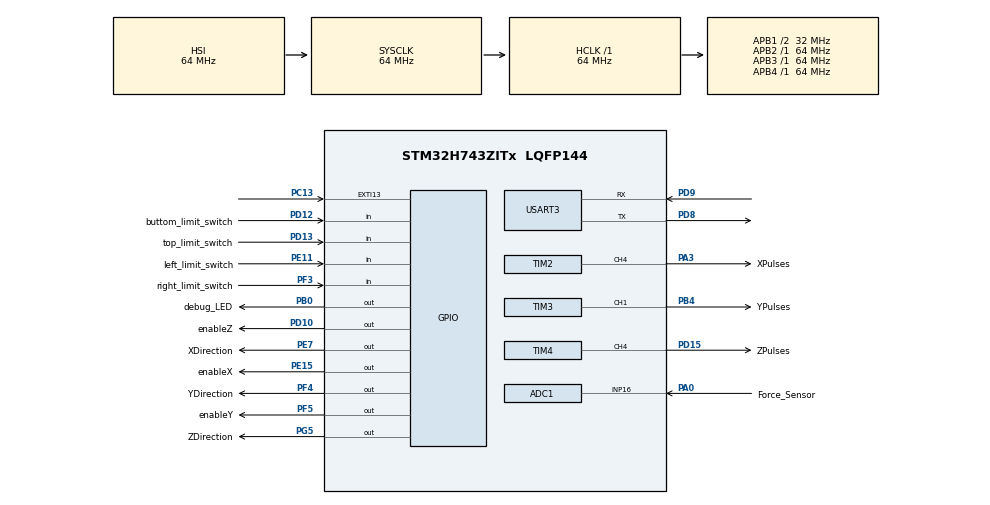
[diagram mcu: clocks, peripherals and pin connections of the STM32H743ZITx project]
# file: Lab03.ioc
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ADC1.Channel-1\#ChannelRegularConversion=ADC_CHANNEL_16
ADC1.NbrOfConversionFlag=1
ADC1.OffsetNumber-1\#ChannelRegularConversion=ADC_OFFSET_NONE
ADC1.OffsetSignedSaturation-1\#ChannelRegularConversion=DISABLE
ADC1.Rank-1\#ChannelRegularConversion=1
ADC1.SamplingTime-1\#ChannelRegularConversion=ADC_SAMPLETIME_1CYCLE_5
ADC1.master=1
Mcu.Family=STM32H7
Mcu.Name=STM32H743ZITx
Mcu.Package=LQFP144
NVIC.ADC_IRQn=true\:0\:0\:false\:false\:true\:true\:true\:true
NVIC.EXTI15_10_IRQn=true\:0\:0\:false\:false\:true\:true\:true\:true
NVIC.PriorityGroup=NVIC_PRIORITYGROUP_4
NVIC.TIM2_IRQn=true\:0\:0\:false\:false\:true\:true\:true\:true
NVIC.TIM3_IRQn=true\:0\:0\:false\:false\:true\:true\:true\:true
NVIC.TIM4_IRQn=true\:0\:0\:false\:false\:true\:true\:true\:true
NVIC.USART3_IRQn=true\:0\:0\:false\:false\:true\:true\:true\:true
PA0.GPIO_Label=Force_Sensor
PA0.Mode=IN16-Single-Ended
PA0.Signal=ADC1_INP16
PA3.GPIO_Label=XPulses
PA3.Signal=S_TIM2_CH4
PB0.GPIO_Label=debug_LED
PB0.Signal=GPIO_Output
PB4\ (NJTRST).GPIO_Label=YPulses
PB4\ (NJTRST).Signal=S_TIM3_CH1
PC13.Signal=GPXTI13
PD10.GPIO_Label=enableZ
PD10.Signal=GPIO_Output
PD12.GPIO_Label=buttom_limit_switch
PD12.GPIO_PuPd=GPIO_PULLDOWN
PD12.Signal=GPIO_Input
PD13.GPIO_Label=top_limit_switch
PD13.GPIO_PuPd=GPIO_PULLDOWN
PD13.Signal=GPIO_Input
PD15.GPIO_Label=ZPulses
PD15.Signal=S_TIM4_CH4
PD8.Mode=Asynchronous
PD8.Signal=USART3_TX
PD9.Mode=Asynchronous
PD9.Signal=USART3_RX
PE11.GPIO_Label=left_limit_switch
PE11.GPIO_PuPd=GPIO_PULLDOWN
PE11.Signal=GPIO_Input
PE15.GPIO_Label=enableX
PE15.Signal=GPIO_Output
PE7.GPIO_Label=XDirection
PE7.Signal=GPIO_Output
PF3.GPIO_Label=right_limit_switch
PF3.GPIO_PuPd=GPIO_PULLDOWN
PF3.Signal=GPIO_Input
PF4.GPIO_Label=YDirection
PF4.Signal=GPIO_Output
PF5.GPIO_Label=enableY
PF5.Signal=GPIO_Output
PG5.GPIO_Label=ZDirection
PG5.Signal=GPIO_Output
ProjectManager.HeapSize=0x200
ProjectManager.StackSize=0x400
ProjectManager.TargetToolchain=STM32CubeIDE
RCC.ADCFreq_Value=75000000
RCC.APB1Freq_Value=32000000
RCC.APB2Freq_Value=64000000
RCC.APB3Freq_Value=64000000
RCC.APB4Freq_Value=64000000
RCC.CortexFreq_Value=64000000
RCC.D2PPRE1=RCC_APB1_DIV2
RCC.DIVM2=4
RCC.DIVN2=9
RCC.HCLKFreq_Value=64000000
RCC.PLL2FRACN=3072
RCC.SYSCLKFreq_VALUE=64000000
RCC.USBFreq_Value=129000000
SH.S_TIM2_CH4.0=TIM2_CH4,PWM Generation4 CH4
SH.S_TIM3_CH1.0=TIM3_CH1,PWM Generation1 CH1
SH.S_TIM4_CH4.0=TIM4_CH4,PWM Generation4 CH4
TIM2.Channel-PWM\ Generation4\ CH4=TIM_CHANNEL_4
TIM2.Period=6400 - 1
TIM3.Channel-PWM\ Generation1\ CH1=TIM_CHANNEL_1
TIM3.Period=3200 - 1
TIM4.Channel-PWM\ Generation4\ CH4=TIM_CHANNEL_4
TIM4.Period=6400 - 1
USART3.VirtualMode-Asynchronous=VM_ASYNC
VP_TIM2_VS_ClockSourceINT.Mode=Internal
VP_TIM3_VS_ClockSourceINT.Mode=Internal
VP_TIM4_VS_ClockSourceINT.Mode=Internal
board=custom

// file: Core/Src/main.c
/* USER CODE BEGIN Header */
/**
  ******************************************************************************
  * @file           : main.c
  * @brief          : Main program body
  ******************************************************************************
  * @attention
  *
  * Copyright (c) 2024 STMicroelectronics.
  * All rights reserved.
  *
  * This software is licensed under terms that can be found in the LICENSE file
  * in the root directory of this software component.
  * If no LICENSE file comes with this software, it is provided AS-IS.
  *
  ******************************************************************************
  */
/* USER CODE END Header */
#include "main.h"
#include "adc.h"
#include "tim.h"
#include "usart.h"
#include "gpio.h"

/* USER CODE BEGIN Includes */
#include "stepper_motor.h"
#include <math.h>
#include <stdio.h>
#include <stdlib.h>
#include <stdarg.h>
/* USER CODE END Includes */

/* USER CODE BEGIN PD */
// #define DEBOUNCE_DELAY 50  // milliseconds
/* USER CODE END PD */

void SystemClock_Config(void);

/* USER CODE BEGIN 0 */
// Used for calibrate X-axis
uint32_t total_pulsesX = 0;   // Record the total pulses needed in half loop
uint32_t pulseCountX = 0;	// Record the count of current pulses
uint8_t loop_numX = 0; 	// Record the current loop

// Used for calibrate Y-axis
uint32_t total_pulsesY = 0;   // Record the total pulses needed in half loop
uint32_t pulseCountY = 0;	// Record the count of current pulses
uint8_t loop_numY = 0;
volatile uint8_t isPressed = 0;

// Used for accelaration
// #define MAX_PULSES 200
//uint32_t maxPulses = 800;
//uint32_t startTime; // To keep track of when acceleration started
//uint32_t lastTime;
//uint32_t freqArray[100000];
//uint32_t decelerateCount = 0;
//uint32_t constantT = 75;
//uint32_t R0 = 64e6 / 60000;
//uint32_t Rs = 64e6 / 12000;
//uint32_t curR = 64e6 / 60000;
//
//volatile uint8_t isPressed = 0; 	// Check if we pressed user button
//volatile uint8_t isAccelerating = 1; 	// Check if we need to accelerate
//volatile uint8_t isDecelerating = 0; 	// Check if we need to decelerate

// Playing Variable
// volatile uint8_t isPlaying = 0;
//uint32_t curNoteIndex = 0;
//// Frequency array for "Twinkle, Twinkle, Little Star"
//uint32_t noteFrequencies[] = {
//    // 1 1 5 5 6 6 5
//	523 * 7, 523 * 7, 440 * 7, 523 * 7, 392 * 7, 440 * 7, 392 * 7
//    // 4 4 3 3 2 2 1
//};
//size_t noteSize = sizeof(noteFrequencies) / sizeof(noteFrequencies[0]);

//void accelerationProcess(uint32_t maxFreq, uint32_t* pulseCount, volatile uint32_t* ARR, volatile uint32_t* CCR, int Timer){
//	 if(isPressed  == 1){
//		if((*pulseCount) < maxPulses){
//			// Get current time and elapsetime during a pulse
//			 uint32_t currentTime = HAL_GetTick();
//			 uint32_t elapseTime = currentTime - lastTime;
//			 // curR represent latest frequency
//			 // I need to initialize the array here so that it could store all the required value,
//			 // If I put this array after I update curR, I won't come back to the initial period.
//			 freqArray[(*pulseCount)] = curR;	// Using a array to store the latest frequency
//
////           DEBUG VARIABLE
////			 curPeriod = 64e6 / curR ;
////			 curElapseTime = elapseTime;
//			 // POSSIBLE BUG: Since curR is a integer, the initial value could become 1066, which could
//			 // lead 64e6 / 1066 become 60037, a bit of different with 60000, and finally the period will
//			 // recover to this value.
//
//			 curR = curR + ((Rs - R0) * elapseTime) / constantT;	// Update formula
//			 if(curR > maxFreq){
//				 curR = maxFreq;
//			 }
//			 uint32_t newPeriod = 64e6 / curR ;	// Update the new period and duty cycle
//
//			 *ARR = newPeriod;
//			 *CCR = newPeriod / 2;
//			 (*pulseCount)++;
////			 DEBUG VARIABLE
////			 ii++;
//		} else if((*pulseCount) >= maxPulses && (*pulseCount) < (uint32_t) (maxPulses * 1.5)){
//			// If I run into constant speed mode, just increase pulseCount and do
//			// not change the speed now
//			(*pulseCount)++;
//			// If I found that it already reach the time limit, change the state to
//			// deceleration state
//			if((*pulseCount) == (uint32_t) (maxPulses * 1.5)){
//				isDecelerating = 1;
//			}
////			 DEBUG VARIABLE
////			jj++;
//		} else if(isDecelerating && decelerateCount <= maxPulses){
//			// I set the deceleration period to MAX_PULSES pulses, then I'll retrieve
//			// the value I stored at freqArray to make it come back to the original state
//			if(decelerateCount < maxPulses){
//				// Using a deceleration count, to track if we reach the deceleration limit
//				uint32_t newPeriod = 64e6 / freqArray[maxPulses - decelerateCount - 1];
//			    *ARR = newPeriod;
//			    *CCR = newPeriod / 2;
//			    decelerateCount++;
//			    (*pulseCount)++;
//
////			 	DEBUG VARIABLE
////				curPeriod = newPeriod;
//// 				kk++;
//			} else {
//				// Deceleration is done, re-initialize the relevant variable
//				isDecelerating = 0;
//				*pulseCount = 0;
//				decelerateCount = 0;
//				curR = R0;
//				// TODO: MODIFY IT
//				// Change the current direction
//				// if(Timer == 2){
//					GPIO_PinState curDirection = HAL_GPIO_ReadPin(GPIOE, GPIO_PIN_7);
//					GPIO_PinState newDirection = (curDirection == GPIO_PIN_SET) ? GPIO_PIN_RESET : GPIO_PIN_SET;
//					HAL_GPIO_WritePin(GPIOE, GPIO_PIN_7, newDirection);
//				// }
//				// Code may not used when playing music
////				isPressed = 0;
//				// Code need to be used when playing music
//				curNoteIndex++;
////				HAL_TIM_PWM_Stop_IT(&htim2,TIM_CHANNEL_4);
//// 				HAL_Delay(20);
////				HAL_TIM_PWM_Start_IT(&htim2,TIM_CHANNEL_4);
////			 	DEBUG VARIABLE
////			   kk++;
//			}
//		}
//	 }
//}
//
//void playTheSong(uint32_t curFreq, uint32_t* pulseCount, volatile uint32_t* ARR, volatile uint32_t* CCR, int Timer){
//	uint32_t prevPulse = curFreq;
//	accelerationProcess(curFreq, pulseCount, ARR, CCR, Timer);
//	if(prevPulse != curFreq){
//		//if(Timer == 2){
//			HAL_TIM_PWM_Stop_IT(&htim2,TIM_CHANNEL_4);
//			HAL_Delay(100);
//			HAL_TIM_PWM_Start_IT(&htim2,TIM_CHANNEL_4);
//		// }
//	}
//}

void HAL_GPIO_EXTI_Callback(uint16_t GPIO_Pin){
    if(GPIO_Pin == GPIO_PIN_13){
//        // Simple software debouncing: check if the button is still pressed after a delay
//      HAL_Delay(50); // 50 ms for debouncing delay
    	isPressed = 1;
//		curNoteIndex = 0;
//      HAL_TIM_PWM_Start_IT(&htim2,TIM_CHANNEL_4);
    }
}
//----------------
//Support code (copy&paste):
void mywrite (unsigned char *st, int nby)
{
	if (nby) HAL_UART_Transmit(&huart3,st,nby,10);
}

void myprintf (const char *fmt, ...)
{
	va_list arglist;
	int nby;
	unsigned char st[256];
	if (!fmt) return;
	va_start(arglist,fmt);
	nby = vsnprintf((char *)st,sizeof(st),fmt,arglist);
	va_end(arglist);
	if (nby < 0) { nby = sizeof(st)-1; } //print truncated string in case too long
	if (nby) HAL_UART_Transmit(&huart3,st,nby,10);
}

void setToCenterX(){
	// Set X-axis to center
	if(loop_numX == 1){
	  pulseCountX++;
	} else if(loop_numX == 2){
		total_pulsesX--;
		if(total_pulsesX == 0){
			HAL_TIM_PWM_Stop(&htim2, TIM_CHANNEL_4); // Stop PWM
			HAL_GPIO_WritePin(GPIOE, GPIO_PIN_15, GPIO_PIN_SET);
			// HAL_Delay(5000);
		}
	}
}

void setToCenterY(){
	// Set Y-axis to center
	if(loop_numY == 1){
	  pulseCountY++;
	} else if(loop_numY == 2){
		total_pulsesY--;
		if(total_pulsesY == 0){
			HAL_TIM_PWM_Stop(&htim3, TIM_CHANNEL_1); // Stop PWM
			HAL_GPIO_WritePin(GPIOF, GPIO_PIN_5, GPIO_PIN_SET);
			// HAL_Delay(5000);
		}
	}
}

void HAL_TIM_PWM_PulseFinishedCallback (TIM_HandleTypeDef *htim){
	 if (htim == &htim2)
	 {
		 // The following function is used for calibrate
		 // setToCenterX();

		 // PLAYING MUSIC CODE
		 // HAL_TIM_PWM_Start_IT(&htim2,TIM_CHANNEL_4);
		 // If I press the user button here, it begins running
//		 playTheSong(noteFrequencies[curNoteIndex], &pulseCountX, &(TIM2->ARR), &(TIM2->CCR4), 2); // Play the current note
//		 // curNoteIndex++;	// Increase the note index
//
//		 // If it already reach the limit, reset all the values.
//		 if(curNoteIndex == noteSize){
//			curNoteIndex = 0;
//			isPressed = 0;
//			HAL_TIM_PWM_Stop_IT(&htim2,TIM_CHANNEL_4);
//		 }
//
//		 lastTime = HAL_GetTick();

		 // DRAW THE CIRCLE CODE
//		 if(motorState.move_axis == X_AXIS){
//			 HAL_TIM_PWM_Stop(&htim2, TIM_CHANNEL_4);
//		 } else if(motorState.move_axis == Y_AXIS){
//			 HAL_TIM_PWM_Stop(&htim3, TIM_CHANNEL_1);
//		 }
		 new_position();
	 }
	 if(htim == &htim3)
	 {
		 // setToCenterY();
	     new_position();
	 }
//	 if(htim == &htim4){
//
//	 }
}

/* USER CODE END 0 */

int main(void)
{

  /* MCU Configuration--------------------------------------------------------*/

  /* Reset of all peripherals, Initializes the Flash interface and the Systick. */
  HAL_Init();

  /* Configure the system clock */
  SystemClock_Config();

  /* Initialize all configured peripherals */
  MX_GPIO_Init();
  MX_TIM2_Init();
  MX_USART3_UART_Init();
  MX_ADC1_Init();
  MX_TIM3_Init();
  MX_TIM4_Init();
  /* USER CODE BEGIN 2 */
  // Set up the initial direction for X-axis
  HAL_GPIO_WritePin(GPIOE, GPIO_PIN_7, GPIO_PIN_SET);
  // Set up the initial direction for Y-axis
  HAL_GPIO_WritePin(GPIOF, GPIO_PIN_4, GPIO_PIN_SET);
  // Set up the initial direction for Z-axis
  HAL_GPIO_WritePin(GPIOG, GPIO_PIN_5, GPIO_PIN_RESET);

   // Maximum: 12000, minimum: 60000
   //  Set up the period in X-axis
//   uint16_t periodX = 20000;
//   TIM2->ARR = periodX; // first periodX
//   TIM2->CCR4 = periodX / 2; // first duty cycle (50%)
//   HAL_GPIO_WritePin(GPIOE, GPIO_PIN_15, GPIO_PIN_RESET); // Set up the enableX
//   HAL_TIM_PWM_Start_IT(&htim2,TIM_CHANNEL_4);
//   // Set up the period for Y-axis
//   uint16_t periodY = 20000;
//   TIM3->ARR = periodY; // first periodY
//   TIM3->CCR1 = periodY / 2; // first duty cycle (50%)
//   HAL_GPIO_WritePin(GPIOF, GPIO_PIN_5, GPIO_PIN_RESET); // Set up the enableY
//   HAL_TIM_PWM_Start_IT(&htim3,TIM_CHANNEL_1);
//    Set up the period for Z-axis
//   uint16_t periodZ = 60000;
//   TIM4->ARR = periodZ; // first periodY
//   TIM4->CCR4 = periodZ / 2; // first duty cycle (50%)
//   HAL_GPIO_WritePin(GPIOD, GPIO_PIN_10, GPIO_PIN_RESET); // Set up the enableZ
//   HAL_TIM_PWM_Start_IT(&htim4,TIM_CHANNEL_4);

  while(!isPressed){
	  isPressed = HAL_GPIO_ReadPin(GPIOC, GPIO_PIN_13);
	  HAL_Delay (20);
	  if(isPressed){
		  isPressed = 0;
		  break;
	  }
  }
  /* USER CODE END 2 */

  /* Infinite loop */
  /* USER CODE BEGIN WHILE */
  while (1)
  {
//	  HAL_ADC_Start(&hadc1); // start the adc
//
//	  HAL_ADC_PollForConversion(&hadc1, 100); // poll for conversion
//
//	  int adc_val = HAL_ADC_GetValue(&hadc1); // get the adc value
//	 // myprintf("%d\n\r", adc_val);
//
//	  HAL_ADC_Stop(&hadc1); // stop adc
//
//	  if(adc_val > 27000){
//		  HAL_TIM_PWM_Stop(&htim4, TIM_CHANNEL_4); // Stop PWM
//	  }
//	  HAL_Delay (200); // wait for 200ms

	  if(motorState.curQuadrant == NONEQUADRANT && motorState.state == STOP_STATE){
		  first_position(4, 0, 0, 4, COUNTERCLOCKWISE);
	  }

	  if(motorState.curQuadrant == FIRSTQUADRANT && motorState.state == STOP_STATE){
		  // DEBUG
//		  int curQuarant = (int)(motorState.curQuadrant);
//		  int curState = (int)motorState.state;
//		  myprintf("phase2 %d state% d\n\r", curQuarant, curState);
		  first_position(0, 4, -4, 0, COUNTERCLOCKWISE);
	  }

	  if(motorState.curQuadrant == SECONDQUADRANT && motorState.state == STOP_STATE){
		  first_position(-4, 0, 0, -4, COUNTERCLOCKWISE);
	  }

	  if(motorState.curQuadrant == THIRDQUADRANT && motorState.state == STOP_STATE){
		  first_position(0, -4, 0, 4, COUNTERCLOCKWISE);
	  }

	  uint8_t leftStateX = HAL_GPIO_ReadPin(GPIOE, GPIO_PIN_11);
	  uint8_t rightStateX = HAL_GPIO_ReadPin(GPIOF, GPIO_PIN_3);
	  uint8_t leftStateY = HAL_GPIO_ReadPin(GPIOD, GPIO_PIN_12);
	  uint8_t rightStateY = HAL_GPIO_ReadPin(GPIOD, GPIO_PIN_13);

	  if(!leftStateX || !rightStateX){
		  // Increase the count of current loop
		  loop_numX++;
		  if(loop_numX == 2)	total_pulsesX = pulseCountX / 2;
		  HAL_TIM_PWM_Stop(&htim2, TIM_CHANNEL_4); // Stop PWM

		  GPIO_PinState curDirectionX = HAL_GPIO_ReadPin(GPIOE, GPIO_PIN_7);
		  GPIO_PinState newDirectionX = (curDirectionX == GPIO_PIN_SET) ? GPIO_PIN_RESET : GPIO_PIN_SET;
		  HAL_GPIO_WritePin(GPIOE, GPIO_PIN_7, newDirectionX);
		  HAL_Delay(100);

		  HAL_GPIO_WritePin(GPIOE, GPIO_PIN_15, GPIO_PIN_RESET);
		  HAL_TIM_PWM_Start_IT(&htim2, TIM_CHANNEL_4);
	  }
	  if(!leftStateY || !rightStateY){
		  loop_numY++;
		  if(loop_numY == 2)	total_pulsesY = pulseCountY / 2;
		  HAL_TIM_PWM_Stop(&htim3, TIM_CHANNEL_1); // Stop PWM

		  GPIO_PinState curDirectionY = HAL_GPIO_ReadPin(GPIOF, GPIO_PIN_4);
		  GPIO_PinState newDirectionY = (curDirectionY == GPIO_PIN_SET) ? GPIO_PIN_RESET : GPIO_PIN_SET;
		  HAL_GPIO_WritePin(GPIOF, GPIO_PIN_4, newDirectionY);
		  HAL_Delay(100);

		  HAL_GPIO_WritePin(GPIOF, GPIO_PIN_5, GPIO_PIN_RESET);
		  HAL_TIM_PWM_Start_IT(&htim3, TIM_CHANNEL_1);
	  }
 	   HAL_Delay(200);
    /* USER CODE END WHILE */

	}
}

void SystemClock_Config(void)
{
  RCC_OscInitTypeDef RCC_OscInitStruct = {0};
  RCC_ClkInitTypeDef RCC_ClkInitStruct = {0};

  /** Supply configuration update enable
  */
  HAL_PWREx_ConfigSupply(PWR_LDO_SUPPLY);

  /** Configure the main internal regulator output voltage
  */
  __HAL_PWR_VOLTAGESCALING_CONFIG(PWR_REGULATOR_VOLTAGE_SCALE3);

  while(!__HAL_PWR_GET_FLAG(PWR_FLAG_VOSRDY)) {}

  /** Macro to configure the PLL clock source
  */
  __HAL_RCC_PLL_PLLSOURCE_CONFIG(RCC_PLLSOURCE_HSI);

  /** Initializes the RCC Oscillators according to the specified parameters
  * in the RCC_OscInitTypeDef structure.
  */
  RCC_OscInitStruct.OscillatorType = RCC_OSCILLATORTYPE_HSI;
  RCC_OscInitStruct.HSIState = RCC_HSI_DIV1;
  RCC_OscInitStruct.HSICalibrationValue = RCC_HSICALIBRATION_DEFAULT;
  RCC_OscInitStruct.PLL.PLLState = RCC_PLL_NONE;
  if (HAL_RCC_OscConfig(&RCC_OscInitStruct) != HAL_OK)
  {
    Error_Handler();
  }

  /** Initializes the CPU, AHB and APB buses clocks
  */
  RCC_ClkInitStruct.ClockType = RCC_CLOCKTYPE_HCLK|RCC_CLOCKTYPE_SYSCLK
                              |RCC_CLOCKTYPE_PCLK1|RCC_CLOCKTYPE_PCLK2
                              |RCC_CLOCKTYPE_D3PCLK1|RCC_CLOCKTYPE_D1PCLK1;
  RCC_ClkInitStruct.SYSCLKSource = RCC_SYSCLKSOURCE_HSI;
  RCC_ClkInitStruct.SYSCLKDivider = RCC_SYSCLK_DIV1;
  RCC_ClkInitStruct.AHBCLKDivider = RCC_HCLK_DIV1;
  RCC_ClkInitStruct.APB3CLKDivider = RCC_APB3_DIV1;
  RCC_ClkInitStruct.APB1CLKDivider = RCC_APB1_DIV2;
  RCC_ClkInitStruct.APB2CLKDivider = RCC_APB2_DIV1;
  RCC_ClkInitStruct.APB4CLKDivider = RCC_APB4_DIV1;

  if (HAL_RCC_ClockConfig(&RCC_ClkInitStruct, FLASH_LATENCY_1) != HAL_OK)
  {
    Error_Handler();
  }
}

void Error_Handler(void)
{
  __disable_irq();
  while (1)
  {
  }
}
